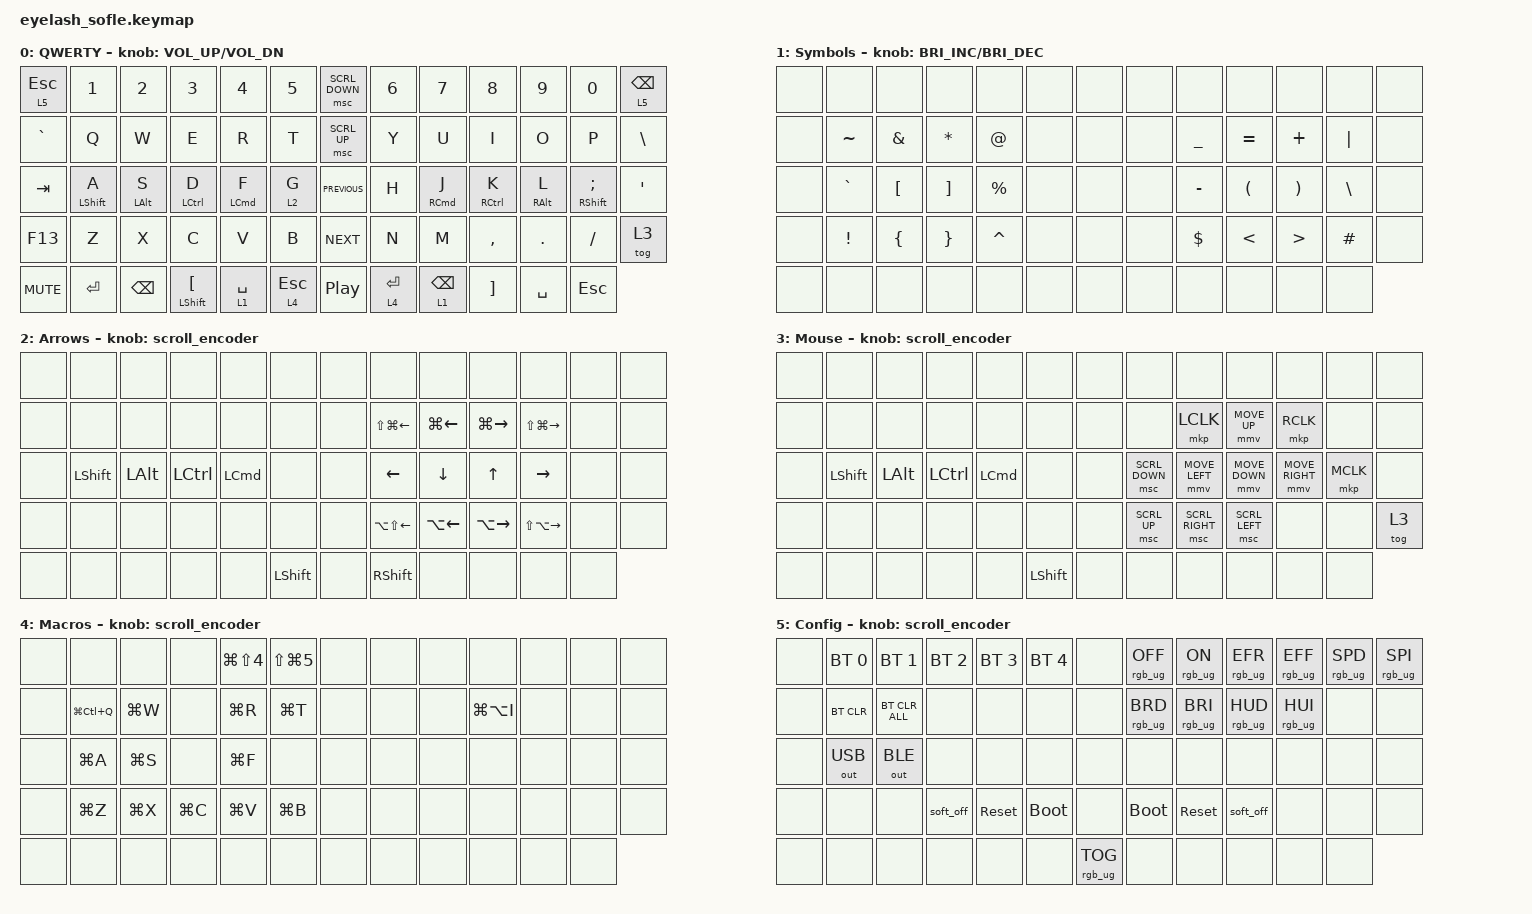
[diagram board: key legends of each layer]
#define ZMK_POINTING_DEFAULT_MOVE_VAL 1200  // 600
#define ZMK_POINTING_DEFAULT_SCRL_VAL 25   // 10

#include <input/processors.dtsi>
#include <zephyr/dt-bindings/input/input-event-codes.h>
#include <behaviors.dtsi>
#include <dt-bindings/zmk/bt.h>
#include <dt-bindings/zmk/keys.h>
#include <dt-bindings/zmk/outputs.h>
#include <dt-bindings/zmk/pointing.h>
#include <dt-bindings/zmk/rgb.h>

&mmv_input_listener { input-processors = <&zip_xy_scaler 2 1>; };

&msc_input_listener { input-processors = <&zip_scroll_scaler 2 1>; };

&msc {
    acceleration-exponent = <1>;      // 0
    time-to-max-speed-ms = <100>;       // 300
    delay-ms = <0>;                   // 0
};

&mmv {
    time-to-max-speed-ms = <500>;
    acceleration-exponent = <1>;
    trigger-period-ms = <16>;
};

&mt {
};

/ {
    scroll_encoder: scroll_encoder {
        compatible = "zmk,behavior-sensor-rotate";
        #sensor-binding-cells = <0>;
        bindings = <&msc SCRL_DOWN>, <&msc SCRL_UP>;

        tap-ms = <100>;
    };

    combos {
        compatible = "zmk,combos";

        combo_caps_word {
            bindings = <&caps_word>;
            key-positions = <40 50>;
            require-prior-idle-ms = <0>;
            layers = <0>;
        };
    };

    behaviors {
        hm: homerow_mod {
            compatible = "zmk,behavior-hold-tap";
            #binding-cells = <2>;
            tapping-term-ms = <200>;
            flavor = "balanced";
            bindings = <&kp>, <&kp>;

            label = "Homerow Mod";
            require-prior-idle-ms = <100>;
            quick-tap-ms = <175>;
        };

        hms: homerow_mod_shift {
            compatible = "zmk,behavior-hold-tap";
            #binding-cells = <2>;
            tapping-term-ms = <200>;
            flavor = "tap-preferred";
            bindings = <&kp>, <&kp>;

            label = "Homerow Mod Shift";
            quick-tap-ms = <175>;
            require-prior-idle-ms = <90>;
        };

        shift_escape_tap: shift_escape_tap {
            compatible = "zmk,behavior-tap-dance";
            label = "SHIFT_ESCAPE_TAP";
            #binding-cells = <0>;
            bindings = <&kp LEFT_SHIFT>, <&kp ESCAPE>;

            tapping-term-ms = <150>;
        };
    };

    keymap {
        compatible = "zmk,keymap";

        QWERTY {
            bindings = <
&lt 5 ESCAPE  &kp N1             &kp N2          &kp N3                       &kp N4              &kp N5          &msc SCRL_DOWN    &kp N6       &kp N7               &kp N8               &kp N9           &kp N0                      &lt 5 BACKSPACE
&kp GRAVE     &kp Q              &kp W           &kp E                        &kp R               &kp T           &msc SCRL_UP      &kp Y        &kp U                &kp I                &kp O            &kp P                       &kp BSLH
&kp TAB       &hms LEFT_SHIFT A  &hm LEFT_ALT S  &hm LEFT_CONTROL D           &hm LEFT_COMMAND F  &lt 2 G         &kp C_PREVIOUS    &kp H        &hm RIGHT_COMMAND J  &hm RIGHT_CONTROL K  &hm RIGHT_ALT L  &hms RIGHT_SHIFT SEMICOLON  &kp APOS
&kp F13       &kp Z              &kp X           &kp C                        &kp V               &kp B           &kp C_NEXT        &kp N        &kp M                &kp COMMA            &kp DOT          &kp FSLH                    &tog 3
&kp C_MUTE    &kp ENTER          &kp BACKSPACE   &mt LEFT_SHIFT LEFT_BRACKET  &lt 1 SPACE         &lt 4 ESCAPE    &kp C_PLAY_PAUSE  &lt 4 ENTER  &lt 1 BACKSPACE      &kp RIGHT_BRACKET    &kp SPACE        &kp ESCAPE
            >;

            sensor-bindings = <&inc_dec_kp C_VOLUME_UP C_VOL_DN>;
            display-name = "QWERTY";
        };

        Symbols {
            bindings = <
&none  &none      &none             &none              &none        &none    &none  &none  &none       &none                 &none                  &none          &none
&none  &kp TILDE  &kp AMPERSAND     &kp ASTERISK       &kp AT       &none    &none  &none  &kp UNDER   &kp EQUAL             &kp PLUS               &kp PIPE       &none
&none  &kp GRAVE  &kp LEFT_BRACKET  &kp RIGHT_BRACKET  &kp PERCENT  &none    &none  &none  &kp MINUS   &kp LEFT_PARENTHESIS  &kp RIGHT_PARENTHESIS  &kp BACKSLASH  &none
&none  &kp EXCL   &kp LEFT_BRACE    &kp RIGHT_BRACE    &kp CARET    &none    &none  &none  &kp DOLLAR  &kp LESS_THAN         &kp GREATER_THAN       &kp HASH       &none
&none  &none      &none             &none              &none        &none    &none  &none  &none       &none                 &none                  &none
            >;

            display-name = "Symbols";
            sensor-bindings = <&inc_dec_kp C_BRIGHTNESS_INC C_BRIGHTNESS_DEC>;
        };

        Arrows {
            bindings = <
&none  &none           &none         &none             &none             &none             &none  &none                   &none         &none          &none              &none  &none
&none  &none           &none         &none             &none             &none             &none  &kp LS(LG(LEFT_ARROW))  &kp LG(LEFT)  &kp LG(RIGHT)  &kp LS(LG(RIGHT))  &none  &none
&none  &kp LEFT_SHIFT  &kp LEFT_ALT  &kp LEFT_CONTROL  &kp LEFT_COMMAND  &none             &none  &kp LEFT                &kp DOWN      &kp UP         &kp RIGHT          &none  &none
&none  &none           &none         &none             &none             &none             &none  &kp LA(LS(LEFT_ARROW))  &kp LA(LEFT)  &kp LA(RIGHT)  &kp LS(LA(RIGHT))  &none  &none
&none  &none           &none         &none             &none             &kp LEFT_SHIFT    &none  &kp RIGHT_SHIFT         &none         &none          &none              &none
            >;

            display-name = "Arrows";
            sensor-bindings = <&scroll_encoder>;
        };

        Mouse {
            display-name = "Mouse";
            bindings = <
&none  &none           &none         &none             &none             &none             &none  &none           &none            &none           &none            &none      &none
&none  &none           &none         &none             &none             &none             &none  &none           &mkp LCLK        &mmv MOVE_UP    &mkp RCLK        &none      &none
&none  &kp LEFT_SHIFT  &kp LEFT_ALT  &kp LEFT_CONTROL  &kp LEFT_COMMAND  &none             &none  &msc SCRL_DOWN  &mmv MOVE_LEFT   &mmv MOVE_DOWN  &mmv MOVE_RIGHT  &mkp MCLK  &none
&none  &none           &none         &none             &none             &none             &none  &msc SCRL_UP    &msc SCRL_RIGHT  &msc SCRL_LEFT  &none            &none      &tog 3
&none  &none           &none         &none             &none             &kp LEFT_SHIFT    &none  &none           &none            &none           &none            &none
            >;

            sensor-bindings = <&scroll_encoder>;
        };

        Macros {
            bindings = <
&none  &none          &none      &none      &kp LG(LS(NUMBER_4))  &kp LS(LG(NUMBER_5))    &none  &none  &none  &none          &none  &none  &none
&none  &kp LG(LC(Q))  &kp LG(W)  &none      &kp LG(R)             &kp LG(T)               &none  &none  &none  &kp LG(LA(I))  &none  &none  &none
&none  &kp LG(A)      &kp LG(S)  &none      &kp LG(F)             &none                   &none  &none  &none  &none          &none  &none  &none
&none  &kp LG(Z)      &kp LG(X)  &kp LG(C)  &kp LG(V)             &kp LG(B)               &none  &none  &none  &none          &none  &none  &none
&none  &none          &none      &none      &none                 &none                   &none  &none  &none  &none          &none  &none
            >;

            label = "Macros";
            sensor-bindings = <&scroll_encoder>;
        };

        Config {
            bindings = <
&none  &bt BT_SEL 0  &bt BT_SEL 1    &bt BT_SEL 2  &bt BT_SEL 3  &bt BT_SEL 4    &none            &rgb_ug RGB_OFF  &rgb_ug RGB_ON   &rgb_ug RGB_EFR  &rgb_ug RGB_EFF  &rgb_ug RGB_SPD  &rgb_ug RGB_SPI
&none  &bt BT_CLR    &bt BT_CLR_ALL  &none         &none         &none           &none            &rgb_ug RGB_BRD  &rgb_ug RGB_BRI  &rgb_ug RGB_HUD  &rgb_ug RGB_HUI  &none            &none
&none  &out OUT_USB  &out OUT_BLE    &none         &none         &none           &none            &none            &none            &none            &none            &none            &none
&none  &none         &none           &soft_off     &sys_reset    &bootloader     &none            &bootloader      &sys_reset       &soft_off        &none            &none            &none
&none  &none         &none           &none         &none         &none           &rgb_ug RGB_TOG  &none            &none            &none            &none            &none
            >;

            display-name = "Config";
            sensor-bindings = <&scroll_encoder>;
        };
    };
};
